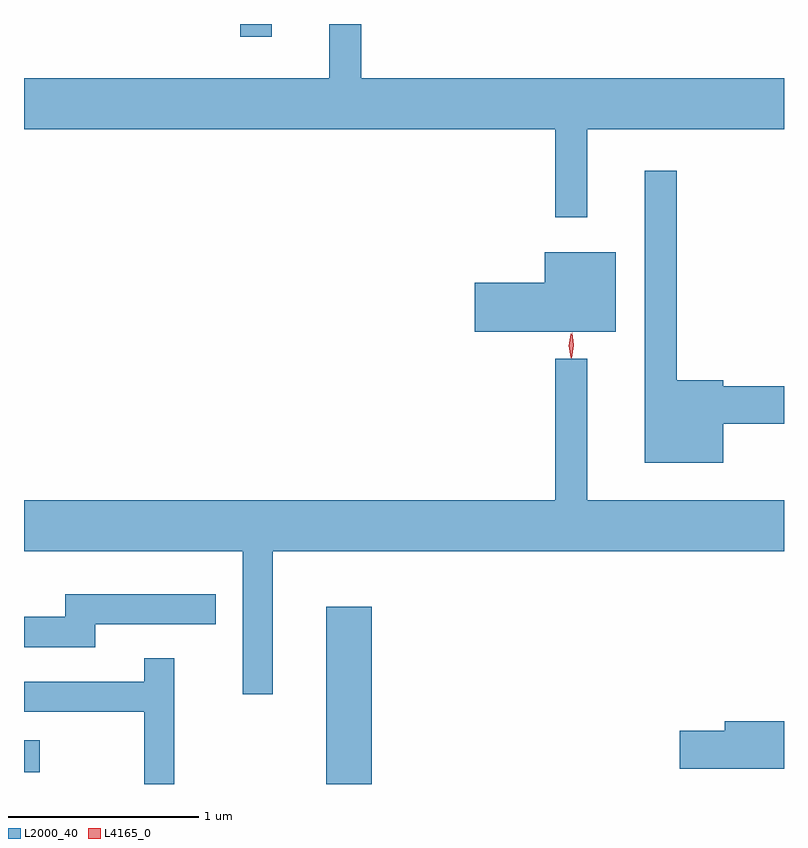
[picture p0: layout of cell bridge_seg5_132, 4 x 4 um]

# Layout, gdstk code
import gdstk
lib = gdstk.Library(unit=1e-6, precision=1e-09)
def R(c, l, rs):  # rectangles x0, y0, x1, y1
    for r in rs: c.add(gdstk.rectangle(r[:2], r[2:], *l))
def P(c, l, *ps):  # polygons
    for p in ps: c.add(gdstk.Polygon(p, *l))
L2000_40 = (2000, 40)
L4165_0 = (4165, 0)

bridge_seg5_132 = lib.new_cell('bridge_seg5_132')
R(bridge_seg5_132, L2000_40, [(1199.086,1446.69,1199.324,1447.624), (1197.494,1446.751,1197.578,1446.919), (1198.631,1450.623,1198.799,1450.69)])
P(bridge_seg5_132, L2000_40, [(1200.459,1450.136),(1201.494,1450.136),(1201.494,1450.404),(1199.269,1450.404),(1199.269,1450.69),(1199.101,1450.69),(1199.101,1450.404),(1197.494,1450.404),(1197.494,1450.136),(1200.291,1450.136),(1200.291,1449.673),(1200.459,1449.673)],
  [(1201.174,1448.586),(1201.494,1448.586),(1201.494,1448.784),(1201.174,1448.784),(1201.174,1448.814),(1200.929,1448.814),(1200.929,1449.918),(1200.761,1449.918),(1200.761,1448.381),(1201.174,1448.381)],
  [(1200.609,1449.489),(1200.236,1449.489),(1200.236,1449.329),(1199.866,1449.329),(1199.866,1449.071),(1200.609,1449.071)],
  [(1198.804,1447.916),(1201.494,1447.916),(1201.494,1448.184),(1200.459,1448.184),(1200.459,1448.928),(1200.291,1448.928),(1200.291,1448.184),(1197.494,1448.184),(1197.494,1447.916),(1198.646,1447.916),(1198.646,1447.163),(1198.804,1447.163)],
  [(1197.869,1447.531),(1198.503,1447.531),(1198.503,1447.689),(1197.711,1447.689),(1197.711,1447.569),(1197.494,1447.569),(1197.494,1447.411),(1197.869,1447.411)],
  [(1198.284,1447.353),(1198.126,1447.353),(1198.126,1447.229),(1197.494,1447.229),(1197.494,1447.071),(1198.126,1447.071),(1198.126,1446.69),(1198.284,1446.69)],
  [(1201.494,1447.019),(1201.181,1447.019),(1201.181,1446.969),(1200.946,1446.969),(1200.946,1446.771),(1201.494,1446.771)])
P(bridge_seg5_132, L4165_0, [(1200.377,1448.93),(1200.368,1448.998),(1200.379,1449.065),(1200.379,1449.066),(1200.38,1449.065),(1200.388,1448.998),(1200.378,1448.93),(1200.378,1448.93)],
  [(1200.372,1448.933),(1200.372,1448.934),(1200.362,1448.996),(1200.372,1449.06),(1200.372,1449.06),(1200.373,1449.06),(1200.382,1448.996),(1200.373,1448.934)])

lib.write_gds('bridge_seg5_132.gds')
